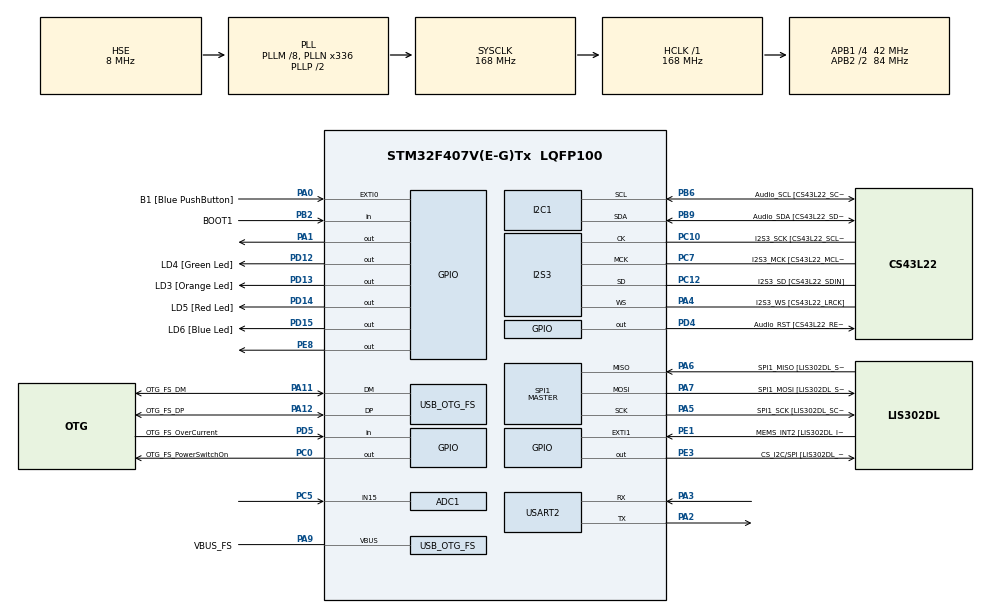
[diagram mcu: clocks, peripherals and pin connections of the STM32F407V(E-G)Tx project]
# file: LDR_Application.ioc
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ADC1.Channel-0\#ChannelRegularConversion=ADC_CHANNEL_15
ADC1.NbrOfConversionFlag=1
ADC1.Rank-0\#ChannelRegularConversion=1
ADC1.SamplingTime-0\#ChannelRegularConversion=ADC_SAMPLETIME_15CYCLES
ADC1.master=1
I2S3.AudioFreq-Half_Duplex_Master=I2S_AUDIOFREQ_96K
I2S3.ErrorAudioFreq=-2.34 %
I2S3.ErrorAudioFreq-Half_Duplex_Master=0.8 %
I2S3.FullDuplexMode=I2S_FULLDUPLEXMODE_DISABLE
I2S3.Instance=SPI$Index
I2S3.RealAudioFreq=93.75 KHz
I2S3.RealAudioFreq-Half_Duplex_Master=96.774 KHz
I2S3.VirtualMode=I2S_MODE_MASTER
Mcu.Family=STM32F4
Mcu.Name=STM32F407V(E-G)Tx
Mcu.Package=LQFP100
NVIC.OTG_FS_IRQn=true\:0\:0\:false\:false\:true\:true\:true\:true
NVIC.PriorityGroup=NVIC_PRIORITYGROUP_0
PA0-WKUP.GPIO_Label=B1 [Blue PushButton]
PA0-WKUP.GPIO_ModeDefaultEXTI=GPIO_MODE_EVT_RISING
PA0-WKUP.GPIO_PuPd=GPIO_NOPULL
PA0-WKUP.Signal=GPXTI0
PA1.Signal=GPIO_Output
PA10.GPIO_Label=OTG_FS_ID
PA10.GPIO_Mode=GPIO_MODE_AF_PP
PA10.GPIO_PuPd=GPIO_NOPULL
PA10.GPIO_Speed=GPIO_SPEED_FREQ_LOW
PA10.Signal=USB_OTG_FS_ID
PA11.GPIO_Label=OTG_FS_DM
PA11.GPIO_Mode=GPIO_MODE_AF_PP
PA11.GPIO_PuPd=GPIO_NOPULL
PA11.GPIO_Speed=GPIO_SPEED_FREQ_LOW
PA11.Mode=Host_Only
PA11.Signal=USB_OTG_FS_DM
PA12.GPIO_Label=OTG_FS_DP
PA12.GPIO_Mode=GPIO_MODE_AF_PP
PA12.GPIO_PuPd=GPIO_NOPULL
PA12.GPIO_Speed=GPIO_SPEED_FREQ_LOW
PA12.Mode=Host_Only
PA12.Signal=USB_OTG_FS_DP
PA13.GPIO_Label=SWDIO
PA13.Mode=Serial_Wire
PA13.Signal=SYS_JTMS-SWDIO
PA14.GPIO_Label=SWCLK
PA14.Mode=Serial_Wire
PA14.Signal=SYS_JTCK-SWCLK
PA2.Mode=Asynchronous
PA2.Signal=USART2_TX
PA3.Mode=Asynchronous
PA3.Signal=USART2_RX
PA4.GPIO_Label=I2S3_WS [CS43L22_LRCK]
PA4.GPIO_Mode=GPIO_MODE_AF_PP
PA4.GPIO_PuPd=GPIO_NOPULL
PA4.GPIO_Speed=GPIO_SPEED_FREQ_LOW
PA4.Mode=Half_Duplex_Master
PA4.Signal=I2S3_WS
PA5.GPIO_Label=SPI1_SCK [LIS302DL_SCL/SPC]
PA5.GPIO_Mode=GPIO_MODE_AF_PP
PA5.GPIO_PuPd=GPIO_NOPULL
PA5.GPIO_Speed=GPIO_SPEED_FREQ_LOW
PA5.Mode=Full_Duplex_Master
PA5.Signal=SPI1_SCK
PA6.GPIO_Label=SPI1_MISO [LIS302DL_SDO]
PA6.GPIO_Mode=GPIO_MODE_AF_PP
PA6.GPIO_PuPd=GPIO_NOPULL
PA6.GPIO_Speed=GPIO_SPEED_FREQ_LOW
PA6.Mode=Full_Duplex_Master
PA6.Signal=SPI1_MISO
PA7.GPIO_Label=SPI1_MOSI [LIS302DL_SDA/SDI/SDO]
PA7.GPIO_Mode=GPIO_MODE_AF_PP
PA7.GPIO_PuPd=GPIO_NOPULL
PA7.GPIO_Speed=GPIO_SPEED_FREQ_LOW
PA7.Mode=Full_Duplex_Master
PA7.Signal=SPI1_MOSI
PA9.GPIO_Label=VBUS_FS
PA9.GPIO_Mode=GPIO_MODE_INPUT
PA9.GPIO_PuPd=GPIO_NOPULL
PA9.Mode=Activate_VBUS
PA9.Signal=USB_OTG_FS_VBUS
PB10.GPIO_Label=CLK_IN [MP45DT02_CLK]
PB10.GPIO_Mode=GPIO_MODE_AF_PP
PB10.GPIO_PuPd=GPIO_NOPULL
PB10.GPIO_Speed=GPIO_SPEED_FREQ_LOW
PB10.Signal=I2S2_CK
PB2.GPIO_Label=BOOT1
PB2.GPIO_Mode=GPIO_MODE_INPUT
PB2.GPIO_PuPd=GPIO_NOPULL
PB2.Signal=GPIO_Input
PB3.GPIO_Label=SWO
PB3.Signal=SYS_JTDO-SWO
PB6.GPIO_Label=Audio_SCL [CS43L22_SCL]
PB6.GPIO_Mode=GPIO_MODE_AF_OD
PB6.GPIO_Pu=GPIO_PULLUP
PB6.GPIO_PuPd=GPIO_NOPULL
PB6.GPIO_Speed=GPIO_SPEED_FREQ_LOW
PB6.Mode=I2C
PB6.Signal=I2C1_SCL
PB9.GPIO_Label=Audio_SDA [CS43L22_SDA]
PB9.GPIO_Mode=GPIO_MODE_AF_OD
PB9.GPIO_Pu=GPIO_PULLUP
PB9.GPIO_PuPd=GPIO_NOPULL
PB9.GPIO_Speed=GPIO_SPEED_FREQ_LOW
PB9.Mode=I2C
PB9.Signal=I2C1_SDA
PC0.GPIO_Label=OTG_FS_PowerSwitchOn
PC0.GPIO_PuPd=GPIO_NOPULL
PC0.GPIO_Speed=GPIO_SPEED_FREQ_LOW
PC0.PinState=GPIO_PIN_SET
PC0.Signal=GPIO_Output
PC10.GPIO_Label=I2S3_SCK [CS43L22_SCLK]
PC10.GPIO_Mode=GPIO_MODE_AF_PP
PC10.GPIO_PuPd=GPIO_NOPULL
PC10.GPIO_Speed=GPIO_SPEED_FREQ_LOW
PC10.Mode=Half_Duplex_Master
PC10.Signal=I2S3_CK
PC12.GPIO_Label=I2S3_SD [CS43L22_SDIN]
PC12.GPIO_Mode=GPIO_MODE_AF_PP
PC12.GPIO_PuPd=GPIO_NOPULL
PC12.GPIO_Speed=GPIO_SPEED_FREQ_LOW
PC12.Mode=Half_Duplex_Master
PC12.Signal=I2S3_SD
PC14-OSC32_IN.GPIO_Label=PC14-OSC32_IN
PC14-OSC32_IN.Mode=LSE-External-Oscillator
PC14-OSC32_IN.Signal=RCC_OSC32_IN
PC15-OSC32_OUT.GPIO_Label=PC15-OSC32_OUT
PC15-OSC32_OUT.Mode=LSE-External-Oscillator
PC15-OSC32_OUT.Signal=RCC_OSC32_OUT
PC3.GPIO_Label=PDM_OUT [MP45DT02_DOUT]
PC3.GPIO_Mode=GPIO_MODE_AF_PP
PC3.GPIO_PuPd=GPIO_NOPULL
PC3.GPIO_Speed=GPIO_SPEED_FREQ_LOW
PC3.Signal=I2S2_SD
PC5.Signal=ADCx_IN15
PC7.GPIO_Label=I2S3_MCK [CS43L22_MCLK]
PC7.GPIO_Mode=GPIO_MODE_AF_PP
PC7.GPIO_PuPd=GPIO_NOPULL
PC7.GPIO_Speed=GPIO_SPEED_FREQ_LOW
PC7.Mode=Master_Clock_Activated
PC7.Signal=I2S3_MCK
PD12.GPIO_Label=LD4 [Green Led]
PD12.GPIO_PuPd=GPIO_NOPULL
PD12.GPIO_Speed=GPIO_SPEED_FREQ_LOW
PD12.Signal=GPIO_Output
PD13.GPIO_Label=LD3 [Orange Led]
PD13.GPIO_PuPd=GPIO_NOPULL
PD13.GPIO_Speed=GPIO_SPEED_FREQ_LOW
PD13.Signal=GPIO_Output
PD14.GPIO_Label=LD5 [Red Led]
PD14.GPIO_PuPd=GPIO_NOPULL
PD14.GPIO_Speed=GPIO_SPEED_FREQ_LOW
PD14.Signal=GPIO_Output
PD15.GPIO_Label=LD6 [Blue Led]
PD15.GPIO_PuPd=GPIO_NOPULL
PD15.GPIO_Speed=GPIO_SPEED_FREQ_LOW
PD15.Signal=GPIO_Output
PD4.GPIO_Label=Audio_RST [CS43L22_RESET]
PD4.GPIO_PuPd=GPIO_NOPULL
PD4.GPIO_Speed=GPIO_SPEED_FREQ_LOW
PD4.Signal=GPIO_Output
PD5.GPIO_Label=OTG_FS_OverCurrent
PD5.GPIO_Mode=GPIO_MODE_INPUT
PD5.GPIO_PuPd=GPIO_NOPULL
PD5.Signal=GPIO_Input
PE1.GPIO_Label=MEMS_INT2 [LIS302DL_INT2]
PE1.GPIO_ModeDefaultEXTI=GPIO_MODE_EVT_RISING
PE1.GPIO_PuPd=GPIO_NOPULL
PE1.Signal=GPXTI1
PE3.GPIO_Label=CS_I2C/SPI [LIS302DL_CS_I2C/SPI]
PE3.GPIO_PuPd=GPIO_NOPULL
PE3.GPIO_Speed=GPIO_SPEED_FREQ_LOW
PE3.Signal=GPIO_Output
PE8.Signal=GPIO_Output
PH0-OSC_IN.GPIO_Label=PH0-OSC_IN
PH0-OSC_IN.Mode=HSE-External-Oscillator
PH0-OSC_IN.Signal=RCC_OSC_IN
PH1-OSC_OUT.GPIO_Label=PH1-OSC_OUT
PH1-OSC_OUT.Mode=HSE-External-Oscillator
PH1-OSC_OUT.Signal=RCC_OSC_OUT
ProjectManager.HeapSize=0x200
ProjectManager.StackSize=0x400
ProjectManager.TargetToolchain=STM32CubeIDE
RCC.48MHZClocksFreq_Value=48000000
RCC.AHBFreq_Value=168000000
RCC.APB1CLKDivider=RCC_HCLK_DIV4
RCC.APB1Freq_Value=42000000
RCC.APB1TimFreq_Value=84000000
RCC.APB2CLKDivider=RCC_HCLK_DIV2
RCC.APB2Freq_Value=84000000
RCC.APB2TimFreq_Value=168000000
RCC.CortexFreq_Value=168000000
RCC.HCLKFreq_Value=168000000
RCC.HSE_VALUE=8000000
RCC.HSI_VALUE=16000000
RCC.PLLM=8
RCC.PLLN=336
RCC.PLLQ=7
RCC.SYSCLKFreq_VALUE=168000000
RCC.SYSCLKSource=RCC_SYSCLKSOURCE_PLLCLK
RCC.VCOOutputFreq_Value=336000000
SH.ADCx_IN15.0=ADC1_IN15,IN15
SPI1.BaudRatePrescaler-Full_Duplex_Master=SPI_BAUDRATEPRESCALER_2
SPI1.CalculateBaudRate-Full_Duplex_Master=42.0 MBits/s
SPI1.Direction=SPI_DIRECTION_2LINES
SPI1.Mode=SPI_MODE_MASTER
SPI1.Mode-Full_Duplex_Master=SPI_MODE_MASTER
SPI1.VirtualType=VM_MASTER
USART2.VirtualMode=VM_ASYNC
USB_HOST.BSP.number=1
USB_HOST.USBH_HandleTypeDef-CDC_FS=hUsbHostFS
USB_HOST.VirtualModeFS=Cdc
USB_HOST0.BSP.STBoard=false
USB_HOST0.BSP.api=Unknown
USB_HOST0.BSP.instance=PC0
USB_HOST0.BSP.ip=GPIO
USB_HOST0.BSP.mode=Output
USB_HOST0.BSP.name=Drive_VBUS_FS
USB_HOST0.BSP.solution=PC0
USB_OTG_FS.VirtualMode=Host_Only
USB_OTG_FS.phy_itface=HCD_PHY_EMBEDDED
VP_USB_HOST_VS_USB_HOST_CDC_FS.Mode=CDC_FS
board=STM32F407G-DISC1

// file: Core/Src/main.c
/* USER CODE BEGIN Header */
/**
  ******************************************************************************
  * @file           : main.c
  * @brief          : Main program body
  ******************************************************************************
  * @attention
  *
  * Copyright (c) 2024 STMicroelectronics.
  * All rights reserved.
  *
  * This software is licensed under terms that can be found in the LICENSE file
  * in the root directory of this software component.
  * If no LICENSE file comes with this software, it is provided AS-IS.
  *
  ******************************************************************************
  */
/* USER CODE END Header */
#include "main.h"
#include "usb_host.h"

/* USER CODE BEGIN Includes */
#include <stdio.h>
#include <string.h>
/* USER CODE END Includes */

ADC_HandleTypeDef hadc1;

I2C_HandleTypeDef hi2c1;

I2S_HandleTypeDef hi2s3;

SPI_HandleTypeDef hspi1;

UART_HandleTypeDef huart2;

/* USER CODE BEGIN PV */
uint16_t lux=0;
char msg[20];

/* USER CODE END PV */

void SystemClock_Config(void);
static void MX_GPIO_Init(void);
static void MX_I2C1_Init(void);
static void MX_I2S3_Init(void);
static void MX_SPI1_Init(void);
static void MX_ADC1_Init(void);
static void MX_USART2_UART_Init(void);
void MX_USB_HOST_Process(void);

int main(void)
{

  /* MCU Configuration--------------------------------------------------------*/

  /* Reset of all peripherals, Initializes the Flash interface and the Systick. */
  HAL_Init();

  /* Configure the system clock */
  SystemClock_Config();

  /* Initialize all configured peripherals */
  MX_GPIO_Init();
  MX_I2C1_Init();
  MX_I2S3_Init();
  MX_SPI1_Init();
  MX_USB_HOST_Init();
  MX_ADC1_Init();
  MX_USART2_UART_Init();

  /* Infinite loop */
  while (1)
  {
    MX_USB_HOST_Process();

    /* USER CODE BEGIN 3 */

    HAL_ADC_Start(&hadc1);
    HAL_ADC_PollForConversion(&hadc1, 20);
    lux = HAL_ADC_GetValue(&hadc1);
    sprintf(msg, "Light %hu \r\n", lux);
    HAL_UART_Transmit(&huart2, (uint8_t *)msg ,strlen(msg), HAL_MAX_DELAY);
    HAL_Delay(500);

    if(lux<20)
    {
    	HAL_GPIO_WritePin(GPIOD, GPIO_PIN_12, 1);
    	HAL_Delay(100);
    	HAL_GPIO_WritePin(GPIOD, GPIO_PIN_13, 1);
    	HAL_Delay(100);
    	HAL_GPIO_WritePin(GPIOD, GPIO_PIN_14, 1);
    	HAL_Delay(100);
    	HAL_GPIO_WritePin(GPIOD, GPIO_PIN_15, 1);
    	HAL_Delay(100);
    	HAL_GPIO_WritePin(GPIOE, GPIO_PIN_8, 1);
    	HAL_Delay(200);
    }else
    {
    	HAL_GPIO_WritePin(GPIOE, GPIO_PIN_8, 0);
    	HAL_Delay(200);
    	HAL_GPIO_WritePin(GPIOD, GPIO_PIN_12, 0);
    	HAL_Delay(100);
    	HAL_GPIO_WritePin(GPIOD, GPIO_PIN_13, 0);
    	HAL_Delay(100);
    	HAL_GPIO_WritePin(GPIOD, GPIO_PIN_14, 0);
    	HAL_Delay(100);
    	HAL_GPIO_WritePin(GPIOD, GPIO_PIN_15, 0);
    	HAL_Delay(100);
    }
  }
  /* USER CODE END 3 */
}

void SystemClock_Config(void)
{
  RCC_OscInitTypeDef RCC_OscInitStruct = {0};
  RCC_ClkInitTypeDef RCC_ClkInitStruct = {0};

  /** Configure the main internal regulator output voltage
  */
  __HAL_RCC_PWR_CLK_ENABLE();
  __HAL_PWR_VOLTAGESCALING_CONFIG(PWR_REGULATOR_VOLTAGE_SCALE1);

  /** Initializes the RCC Oscillators according to the specified parameters
  * in the RCC_OscInitTypeDef structure.
  */
  RCC_OscInitStruct.OscillatorType = RCC_OSCILLATORTYPE_HSE;
  RCC_OscInitStruct.HSEState = RCC_HSE_ON;
  RCC_OscInitStruct.PLL.PLLState = RCC_PLL_ON;
  RCC_OscInitStruct.PLL.PLLSource = RCC_PLLSOURCE_HSE;
  RCC_OscInitStruct.PLL.PLLM = 8;
  RCC_OscInitStruct.PLL.PLLN = 336;
  RCC_OscInitStruct.PLL.PLLP = RCC_PLLP_DIV2;
  RCC_OscInitStruct.PLL.PLLQ = 7;
  if (HAL_RCC_OscConfig(&RCC_OscInitStruct) != HAL_OK)
  {
    Error_Handler();
  }

  /** Initializes the CPU, AHB and APB buses clocks
  */
  RCC_ClkInitStruct.ClockType = RCC_CLOCKTYPE_HCLK|RCC_CLOCKTYPE_SYSCLK
                              |RCC_CLOCKTYPE_PCLK1|RCC_CLOCKTYPE_PCLK2;
  RCC_ClkInitStruct.SYSCLKSource = RCC_SYSCLKSOURCE_PLLCLK;
  RCC_ClkInitStruct.AHBCLKDivider = RCC_SYSCLK_DIV1;
  RCC_ClkInitStruct.APB1CLKDivider = RCC_HCLK_DIV4;
  RCC_ClkInitStruct.APB2CLKDivider = RCC_HCLK_DIV2;

  if (HAL_RCC_ClockConfig(&RCC_ClkInitStruct, FLASH_LATENCY_5) != HAL_OK)
  {
    Error_Handler();
  }
}

static void MX_ADC1_Init(void)
{

  ADC_ChannelConfTypeDef sConfig = {0};

  /** Configure the global features of the ADC (Clock, Resolution, Data Alignment and number of conversion)
  */
  hadc1.Instance = ADC1;
  hadc1.Init.ClockPrescaler = ADC_CLOCK_SYNC_PCLK_DIV4;
  hadc1.Init.Resolution = ADC_RESOLUTION_12B;
  hadc1.Init.ScanConvMode = DISABLE;
  hadc1.Init.ContinuousConvMode = DISABLE;
  hadc1.Init.DiscontinuousConvMode = DISABLE;
  hadc1.Init.ExternalTrigConvEdge = ADC_EXTERNALTRIGCONVEDGE_NONE;
  hadc1.Init.ExternalTrigConv = ADC_SOFTWARE_START;
  hadc1.Init.DataAlign = ADC_DATAALIGN_RIGHT;
  hadc1.Init.NbrOfConversion = 1;
  hadc1.Init.DMAContinuousRequests = DISABLE;
  hadc1.Init.EOCSelection = ADC_EOC_SINGLE_CONV;
  if (HAL_ADC_Init(&hadc1) != HAL_OK)
  {
    Error_Handler();
  }

  /** Configure for the selected ADC regular channel its corresponding rank in the sequencer and its sample time.
  */
  sConfig.Channel = ADC_CHANNEL_15;
  sConfig.Rank = 1;
  sConfig.SamplingTime = ADC_SAMPLETIME_15CYCLES;
  if (HAL_ADC_ConfigChannel(&hadc1, &sConfig) != HAL_OK)
  {
    Error_Handler();
  }

}

static void MX_I2C1_Init(void)
{

  hi2c1.Instance = I2C1;
  hi2c1.Init.ClockSpeed = 100000;
  hi2c1.Init.DutyCycle = I2C_DUTYCYCLE_2;
  hi2c1.Init.OwnAddress1 = 0;
  hi2c1.Init.AddressingMode = I2C_ADDRESSINGMODE_7BIT;
  hi2c1.Init.DualAddressMode = I2C_DUALADDRESS_DISABLE;
  hi2c1.Init.OwnAddress2 = 0;
  hi2c1.Init.GeneralCallMode = I2C_GENERALCALL_DISABLE;
  hi2c1.Init.NoStretchMode = I2C_NOSTRETCH_DISABLE;
  if (HAL_I2C_Init(&hi2c1) != HAL_OK)
  {
    Error_Handler();
  }

}

static void MX_I2S3_Init(void)
{

  hi2s3.Instance = SPI3;
  hi2s3.Init.Mode = I2S_MODE_MASTER_TX;
  hi2s3.Init.Standard = I2S_STANDARD_PHILIPS;
  hi2s3.Init.DataFormat = I2S_DATAFORMAT_16B;
  hi2s3.Init.MCLKOutput = I2S_MCLKOUTPUT_ENABLE;
  hi2s3.Init.AudioFreq = I2S_AUDIOFREQ_96K;
  hi2s3.Init.CPOL = I2S_CPOL_LOW;
  hi2s3.Init.ClockSource = I2S_CLOCK_PLL;
  hi2s3.Init.FullDuplexMode = I2S_FULLDUPLEXMODE_DISABLE;
  if (HAL_I2S_Init(&hi2s3) != HAL_OK)
  {
    Error_Handler();
  }

}

static void MX_SPI1_Init(void)
{

  /* SPI1 parameter configuration*/
  hspi1.Instance = SPI1;
  hspi1.Init.Mode = SPI_MODE_MASTER;
  hspi1.Init.Direction = SPI_DIRECTION_2LINES;
  hspi1.Init.DataSize = SPI_DATASIZE_8BIT;
  hspi1.Init.CLKPolarity = SPI_POLARITY_LOW;
  hspi1.Init.CLKPhase = SPI_PHASE_1EDGE;
  hspi1.Init.NSS = SPI_NSS_SOFT;
  hspi1.Init.BaudRatePrescaler = SPI_BAUDRATEPRESCALER_2;
  hspi1.Init.FirstBit = SPI_FIRSTBIT_MSB;
  hspi1.Init.TIMode = SPI_TIMODE_DISABLE;
  hspi1.Init.CRCCalculation = SPI_CRCCALCULATION_DISABLE;
  hspi1.Init.CRCPolynomial = 10;
  if (HAL_SPI_Init(&hspi1) != HAL_OK)
  {
    Error_Handler();
  }

}

static void MX_USART2_UART_Init(void)
{

  huart2.Instance = USART2;
  huart2.Init.BaudRate = 115200;
  huart2.Init.WordLength = UART_WORDLENGTH_8B;
  huart2.Init.StopBits = UART_STOPBITS_1;
  huart2.Init.Parity = UART_PARITY_NONE;
  huart2.Init.Mode = UART_MODE_TX_RX;
  huart2.Init.HwFlowCtl = UART_HWCONTROL_NONE;
  huart2.Init.OverSampling = UART_OVERSAMPLING_16;
  if (HAL_UART_Init(&huart2) != HAL_OK)
  {
    Error_Handler();
  }

}

static void MX_GPIO_Init(void)
{
  GPIO_InitTypeDef GPIO_InitStruct = {0};

  /* GPIO Ports Clock Enable */
  __HAL_RCC_GPIOE_CLK_ENABLE();
  __HAL_RCC_GPIOC_CLK_ENABLE();
  __HAL_RCC_GPIOH_CLK_ENABLE();
  __HAL_RCC_GPIOA_CLK_ENABLE();
  __HAL_RCC_GPIOB_CLK_ENABLE();
  __HAL_RCC_GPIOD_CLK_ENABLE();

  /*Configure GPIO pin Output Level */
  HAL_GPIO_WritePin(GPIOE, CS_I2C_SPI_Pin|GPIO_PIN_8, GPIO_PIN_RESET);

  /*Configure GPIO pin Output Level */
  HAL_GPIO_WritePin(OTG_FS_PowerSwitchOn_GPIO_Port, OTG_FS_PowerSwitchOn_Pin, GPIO_PIN_SET);

  /*Configure GPIO pin Output Level */
  HAL_GPIO_WritePin(GPIOA, GPIO_PIN_1, GPIO_PIN_RESET);

  /*Configure GPIO pin Output Level */
  HAL_GPIO_WritePin(GPIOD, LD4_Pin|LD3_Pin|LD5_Pin|LD6_Pin
                          |Audio_RST_Pin, GPIO_PIN_RESET);

  /*Configure GPIO pins : CS_I2C_SPI_Pin PE8 */
  GPIO_InitStruct.Pin = CS_I2C_SPI_Pin|GPIO_PIN_8;
  GPIO_InitStruct.Mode = GPIO_MODE_OUTPUT_PP;
  GPIO_InitStruct.Pull = GPIO_NOPULL;
  GPIO_InitStruct.Speed = GPIO_SPEED_FREQ_LOW;
  HAL_GPIO_Init(GPIOE, &GPIO_InitStruct);

  /*Configure GPIO pin : OTG_FS_PowerSwitchOn_Pin */
  GPIO_InitStruct.Pin = OTG_FS_PowerSwitchOn_Pin;
  GPIO_InitStruct.Mode = GPIO_MODE_OUTPUT_PP;
  GPIO_InitStruct.Pull = GPIO_NOPULL;
  GPIO_InitStruct.Speed = GPIO_SPEED_FREQ_LOW;
  HAL_GPIO_Init(OTG_FS_PowerSwitchOn_GPIO_Port, &GPIO_InitStruct);

  /*Configure GPIO pin : PDM_OUT_Pin */
  GPIO_InitStruct.Pin = PDM_OUT_Pin;
  GPIO_InitStruct.Mode = GPIO_MODE_AF_PP;
  GPIO_InitStruct.Pull = GPIO_NOPULL;
  GPIO_InitStruct.Speed = GPIO_SPEED_FREQ_LOW;
  GPIO_InitStruct.Alternate = GPIO_AF5_SPI2;
  HAL_GPIO_Init(PDM_OUT_GPIO_Port, &GPIO_InitStruct);

  /*Configure GPIO pin : B1_Pin */
  GPIO_InitStruct.Pin = B1_Pin;
  GPIO_InitStruct.Mode = GPIO_MODE_EVT_RISING;
  GPIO_InitStruct.Pull = GPIO_NOPULL;
  HAL_GPIO_Init(B1_GPIO_Port, &GPIO_InitStruct);

  /*Configure GPIO pin : PA1 */
  GPIO_InitStruct.Pin = GPIO_PIN_1;
  GPIO_InitStruct.Mode = GPIO_MODE_OUTPUT_PP;
  GPIO_InitStruct.Pull = GPIO_NOPULL;
  GPIO_InitStruct.Speed = GPIO_SPEED_FREQ_LOW;
  HAL_GPIO_Init(GPIOA, &GPIO_InitStruct);

  /*Configure GPIO pin : BOOT1_Pin */
  GPIO_InitStruct.Pin = BOOT1_Pin;
  GPIO_InitStruct.Mode = GPIO_MODE_INPUT;
  GPIO_InitStruct.Pull = GPIO_NOPULL;
  HAL_GPIO_Init(BOOT1_GPIO_Port, &GPIO_InitStruct);

  /*Configure GPIO pin : CLK_IN_Pin */
  GPIO_InitStruct.Pin = CLK_IN_Pin;
  GPIO_InitStruct.Mode = GPIO_MODE_AF_PP;
  GPIO_InitStruct.Pull = GPIO_NOPULL;
  GPIO_InitStruct.Speed = GPIO_SPEED_FREQ_LOW;
  GPIO_InitStruct.Alternate = GPIO_AF5_SPI2;
  HAL_GPIO_Init(CLK_IN_GPIO_Port, &GPIO_InitStruct);

  /*Configure GPIO pins : LD4_Pin LD3_Pin LD5_Pin LD6_Pin
                           Audio_RST_Pin */
  GPIO_InitStruct.Pin = LD4_Pin|LD3_Pin|LD5_Pin|LD6_Pin
                          |Audio_RST_Pin;
  GPIO_InitStruct.Mode = GPIO_MODE_OUTPUT_PP;
  GPIO_InitStruct.Pull = GPIO_NOPULL;
  GPIO_InitStruct.Speed = GPIO_SPEED_FREQ_LOW;
  HAL_GPIO_Init(GPIOD, &GPIO_InitStruct);

  /*Configure GPIO pin : OTG_FS_OverCurrent_Pin */
  GPIO_InitStruct.Pin = OTG_FS_OverCurrent_Pin;
  GPIO_InitStruct.Mode = GPIO_MODE_INPUT;
  GPIO_InitStruct.Pull = GPIO_NOPULL;
  HAL_GPIO_Init(OTG_FS_OverCurrent_GPIO_Port, &GPIO_InitStruct);

  /*Configure GPIO pin : MEMS_INT2_Pin */
  GPIO_InitStruct.Pin = MEMS_INT2_Pin;
  GPIO_InitStruct.Mode = GPIO_MODE_EVT_RISING;
  GPIO_InitStruct.Pull = GPIO_NOPULL;
  HAL_GPIO_Init(MEMS_INT2_GPIO_Port, &GPIO_InitStruct);

}

void Error_Handler(void)
{
  __disable_irq();
  while (1)
  {
  }
}
